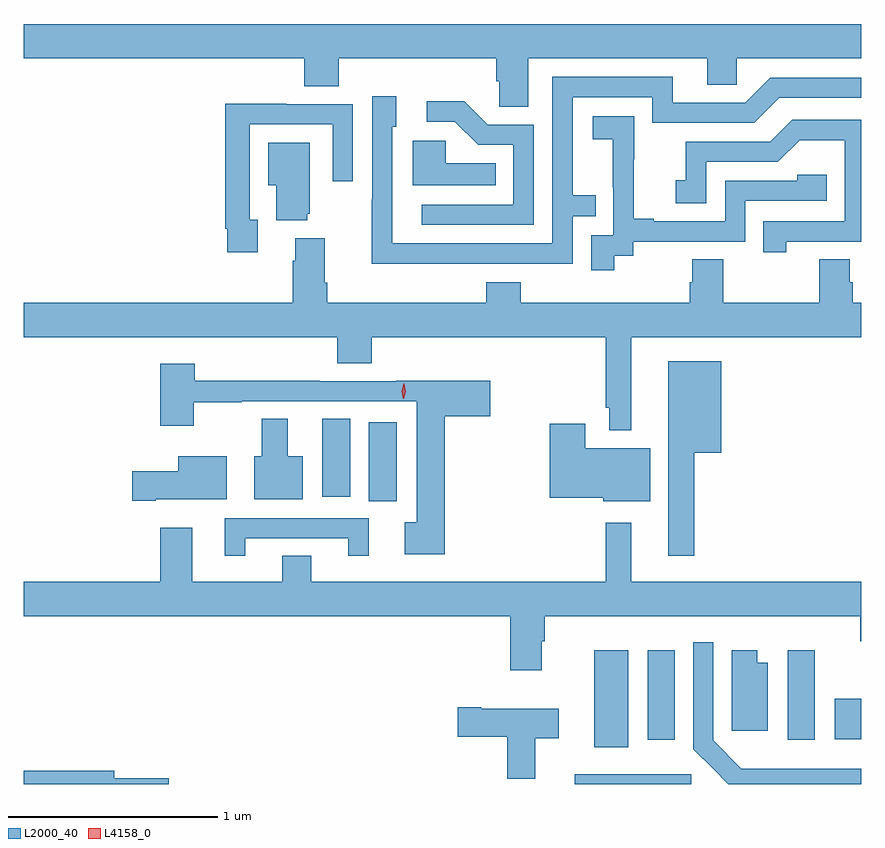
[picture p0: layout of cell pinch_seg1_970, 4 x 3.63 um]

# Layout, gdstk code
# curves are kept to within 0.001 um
import gdstk
lib = gdstk.Library(unit=1e-6, precision=1e-09)
def R(c, l, rs):  # rectangles x0, y0, x1, y1
    for r in rs: c.add(gdstk.rectangle(r[:2], r[2:], *l))
def P(c, l, *ps):  # polygons
    for p in ps: c.add(gdstk.Polygon(p, *l))
L2000_40 = (2000, 40)
L4158_0 = (4158, 0)

pinch_seg1_970 = lib.new_cell('pinch_seg1_970')
R(pinch_seg1_970, L2000_40, [(256.565,576.414,256.726,576.877), (256.82,576.45,256.948,576.877), (257.489,576.45,257.617,576.877), (257.714,576.452,257.84,576.646), (255.488,577.59,255.622,577.966), (255.266,577.611,255.4,577.982)])
P(pinch_seg1_970, L2000_40, [(256.249,579.704),(257.105,579.704),(257.105,579.577),(257.244,579.577),(257.244,579.704),(257.84,579.704),(257.84,579.868),(253.84,579.868),(253.84,579.704),(255.179,579.704),(255.179,579.571),(255.344,579.571),(255.344,579.704),(256.097,579.704),(256.097,579.595),(256.11,579.595),(256.11,579.472),(256.249,579.472)],
  [(255.965,578.724),(256.461,578.724),(256.461,578.949),(256.571,578.949),(256.571,579.05),(256.461,579.05),(256.461,579.519),(256.842,579.519),(256.842,579.396),(257.328,579.396),(257.448,579.516),(257.84,579.516),(257.84,579.612),(257.406,579.612),(257.286,579.492),(256.939,579.492),(256.939,579.615),(256.365,579.615),(256.365,578.82),(255.601,578.82),(255.6,579.378),(255.619,579.378),(255.619,579.523),(255.504,579.523),(255.504,579.029),(255.502,579.029),(255.502,578.723)],
  [(256.275,579.387),(256.056,579.387),(255.943,579.5),(255.765,579.5),(255.765,579.402),(255.899,579.402),(256.01,579.291),(256.179,579.291),(256.179,579.006),(255.741,579.006),(255.741,578.91),(256.275,578.91)],
  [(254.959,578.934),(254.919,578.934),(254.919,579.39),(255.315,579.39),(255.315,579.117),(255.411,579.117),(255.411,579.486),(255.095,579.486),(255.095,579.488),(254.803,579.488),(254.803,578.89),(254.811,578.89),(254.811,578.778),(254.959,578.778)],
  [(256.66,578.761),(256.752,578.761),(256.752,578.829),(257.286,578.829),(257.286,579.024),(257.675,579.024),(257.675,579.147),(257.535,579.147),(257.535,579.12),(257.19,579.12),(257.19,578.925),(256.849,578.925),(256.849,578.938),(256.754,578.938),(256.754,579.221),(256.755,579.221),(256.755,579.427),(256.557,579.427),(256.557,579.317),(256.654,579.317),(256.654,579.089),(256.656,579.089),(256.656,578.859),(256.551,578.859),(256.551,578.691),(256.66,578.691)],
  [(257.482,578.829),(257.84,578.829),(257.84,579.411),(257.51,579.411),(257.405,579.306),(257.002,579.306),(257.002,579.121),(256.953,579.121),(256.953,579.012),(257.1,579.012),(257.1,579.21),(257.442,579.21),(257.546,579.314),(257.76,579.314),(257.76,578.925),(257.371,578.925),(257.371,578.778),(257.482,578.778)],
  [(256.094,579.202),(255.855,579.202),(255.855,579.31),(255.698,579.31),(255.698,579.098),(256.094,579.098)],
  [(255.194,578.961),(255.205,578.961),(255.205,579.301),(255.008,579.301),(255.008,579.098),(255.047,579.098),(255.047,578.93),(255.194,578.93)],
  [(256.741,578.372),(257.84,578.372),(257.84,578.536),(257.798,578.536),(257.798,578.634),(257.785,578.634),(257.785,578.744),(257.638,578.744),(257.638,578.536),(257.181,578.536),(257.181,578.744),(257.033,578.744),(257.033,578.634),(257.021,578.634),(257.021,578.536),(256.214,578.536),(256.214,578.635),(256.049,578.635),(256.049,578.536),(255.29,578.536),(255.29,578.632),(255.277,578.632),(255.277,578.845),(255.137,578.845),(255.137,578.738),(255.125,578.738),(255.125,578.536),(253.84,578.536),(253.84,578.372),(255.338,578.372),(255.338,578.248),(255.503,578.248),(255.503,578.372),(256.62,578.372),(256.62,578.035),(256.637,578.035),(256.637,577.928),(256.741,577.928)],
  [(257.041,577.82),(257.17,577.82),(257.17,578.257),(256.919,578.257),(256.919,577.329),(257.041,577.329)],
  [(255.851,577.994),(256.069,577.994),(256.069,578.165),(255.62,578.165),(255.62,578.163),(255.254,578.163),(255.254,578.165),(254.657,578.165),(254.657,578.245),(254.492,578.245),(254.492,577.95),(254.652,577.95),(254.652,578.062),(254.882,578.062),(254.882,578.067),(255.716,578.067),(255.716,577.49),(255.66,577.49),(255.66,577.337),(255.851,577.337)],
  [(255.172,577.804),(255.1,577.804),(255.1,577.982),(254.978,577.982),(254.978,577.804),(254.942,577.804),(254.942,577.598),(255.172,577.598)],
  [(256.831,577.843),(256.522,577.843),(256.522,577.96),(256.352,577.96),(256.352,577.607),(256.608,577.607),(256.608,577.589),(256.831,577.589)],
  [(254.47,577.598),(254.809,577.598),(254.809,577.804),(254.579,577.804),(254.579,577.733),(254.358,577.733),(254.358,577.591),(254.47,577.591)],
  [(254.899,577.413),(255.389,577.413),(255.389,577.329),(255.487,577.329),(255.487,577.509),(254.801,577.509),(254.801,577.329),(254.899,577.329)],
  [(256.315,576.92),(256.328,576.92),(256.328,577.04),(257.834,577.04),(257.834,576.92),(257.84,576.92),(257.84,577.204),(256.741,577.204),(256.741,577.486),(256.62,577.486),(256.62,577.204),(255.214,577.204),(255.214,577.328),(255.074,577.328),(255.074,577.204),(254.644,577.204),(254.644,577.462),(254.492,577.462),(254.492,577.204),(253.84,577.204),(253.84,577.04),(256.163,577.04),(256.163,576.783),(256.315,576.783)],
  [(257.84,576.313),(257.267,576.313),(257.133,576.447),(257.133,576.916),(257.037,576.916),(257.037,576.405),(257.132,576.311),(257.205,576.239),(257.84,576.239)],
  [(257.392,576.817),(257.344,576.817),(257.344,576.877),(257.222,576.877),(257.222,576.494),(257.392,576.494)],
  [(256.282,576.458),(256.396,576.458),(256.396,576.598),(256.024,576.598),(256.024,576.606),(255.912,576.606),(255.912,576.464),(256.148,576.464),(256.148,576.265),(256.282,576.265)],
  [(254.533,576.266),(254.272,576.266),(254.272,576.302),(253.84,576.302),(253.84,576.239),(254.533,576.239)],
  [(257.028,576.286),(256.824,576.286),(256.824,576.285),(256.472,576.285),(256.472,576.239),(257.028,576.239)])
P(pinch_seg1_970, L4158_0, [(255.653,578.078),(255.645,578.114),(255.656,578.15),(255.657,578.15),(255.657,578.15),(255.665,578.113),(255.654,578.078),(255.654,578.078)])

lib.write_gds('pinch_seg1_970.gds')
